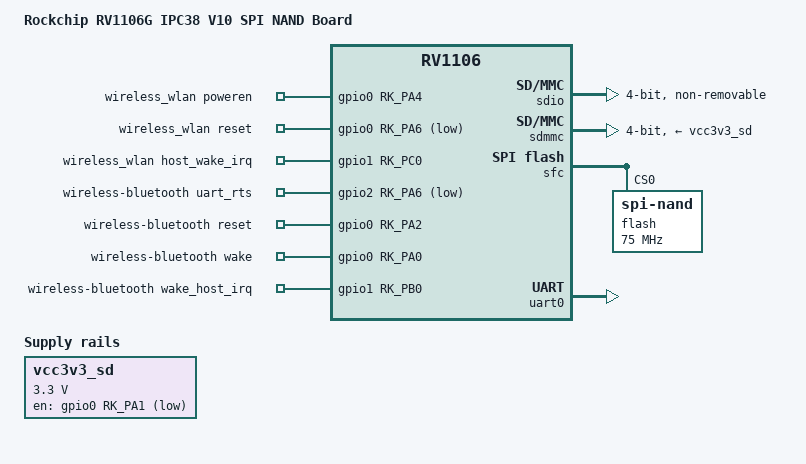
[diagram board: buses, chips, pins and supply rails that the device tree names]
// SPDX-License-Identifier: (GPL-2.0+ OR MIT)
/*
 * Copyright (c) 2022 Rockchip Electronics Co., Ltd.
 */

/dts-v1/;

#include "rv1106.dtsi"
#include "rv1106-evb.dtsi"
#include "rv1106-ipc.dtsi"

/ {
	model = "Rockchip RV1106G IPC38 V10 SPI NAND Board";
	compatible = "rockchip,rv1106g-38x38-ipc-v10-spi-nand", "rockchip,rv1106";

	vcc3v3_sd: vcc3v3-sd {
		compatible = "regulator-fixed";
		gpio = <&gpio0 RK_PA1 GPIO_ACTIVE_LOW>;
		regulator-name = "vcc3v3_sd";
		regulator-min-microvolt = <3300000>;
		regulator-max-microvolt = <3300000>;
		pinctrl-names = "default";
		pinctrl-0 = <&sdmmc_pwren>;
	};

	wireless_wlan: wireless-wlan {
		compatible = "wlan-platdata";
		wifi_chip_type = "aic8800";
		pinctrl-names = "default";
		pinctrl-0 = <&wifi_host_wake_irq>;
		WIFI,poweren_gpio = <&gpio0 RK_PA4 GPIO_ACTIVE_HIGH>;
		WIFI,reset_gpio = <&gpio0 RK_PA6 GPIO_ACTIVE_LOW>;
		WIFI,host_wake_irq = <&gpio1 RK_PC0 GPIO_ACTIVE_HIGH>;
		status = "okay";
	};

	wireless-bluetooth {
		compatible = "bluetooth-platdata";
		uart_rts_gpios = <&gpio2 RK_PA6 GPIO_ACTIVE_LOW>;
		pinctrl-names = "default", "rts_gpio";
		pinctrl-0 = <&uart0m1_rtsn>;
		pinctrl-1 = <&uart0m1_rtsn_gpio>;
		BT,reset_gpio    = <&gpio0 RK_PA2 GPIO_ACTIVE_HIGH>;
		BT,wake_gpio     = <&gpio0 RK_PA0 GPIO_ACTIVE_HIGH>;
		//BT,wake_host_irq = <&gpio0 RK_PA5 GPIO_ACTIVE_HIGH>;
		BT,wake_host_irq = <&gpio1 RK_PB0 GPIO_ACTIVE_HIGH>;
		status = "okay";
	};
};

&pinctrl {
	sdmmc {
		/omit-if-no-ref/
		sdmmc_pwren: sdmmc-pwren {
			rockchip,pins = <0 RK_PA1 RK_FUNC_GPIO &pcfg_pull_none>;
		};
	};

	wireless-wlan {
		wifi_host_wake_irq: wifi-host-wake-irq {
			rockchip,pins = <1 RK_PC0 RK_FUNC_GPIO &pcfg_pull_none>;
		};
	};

	wireless-bluetooth {
		uart0m1_rtsn_gpio: uart0m1-rtsn-gpios {
			rockchip,pins = <2 RK_PA6 RK_FUNC_GPIO &pcfg_pull_none>;
		};
	};
};

&sdio {
	max-frequency = <50000000>;
	bus-width = <4>;
	cap-sd-highspeed;
	cap-sdio-irq;
	keep-power-in-suspend;
	non-removable;
	rockchip,default-sample-phase = <90>;
	no-sd;
	no-mmc;
	supports-sdio;
	pinctrl-names = "default";
	pinctrl-0 = <&sdmmc1m0_cmd &sdmmc1m0_clk &sdmmc1m0_bus4>;
	status = "okay";
};

&sdmmc {
	max-frequency = <50000000>;
	no-sdio;
	no-mmc;
	bus-width = <4>;
	cap-mmc-highspeed;
	cap-sd-highspeed;
	disable-wp;
	pinctrl-names = "normal", "idle";
	pinctrl-0 = <&sdmmc0_clk &sdmmc0_cmd &sdmmc0_det &sdmmc0_bus4>;
	pinctrl-1 = <&sdmmc0_idle_pins &sdmmc0_det>;
	vmmc-supply = <&vcc3v3_sd>;
	status = "okay";
};

&sfc {
	status = "okay";

	flash@0 {
		compatible = "spi-nand";
		reg = <0>;
		spi-max-frequency = <75000000>;
		spi-rx-bus-width = <4>;
		spi-tx-bus-width = <1>;
	};
};

&uart0 {
	pinctrl-names = "default";
	pinctrl-0 = <&uart0m1_xfer &uart0m1_ctsn>;
	status = "okay";
};
